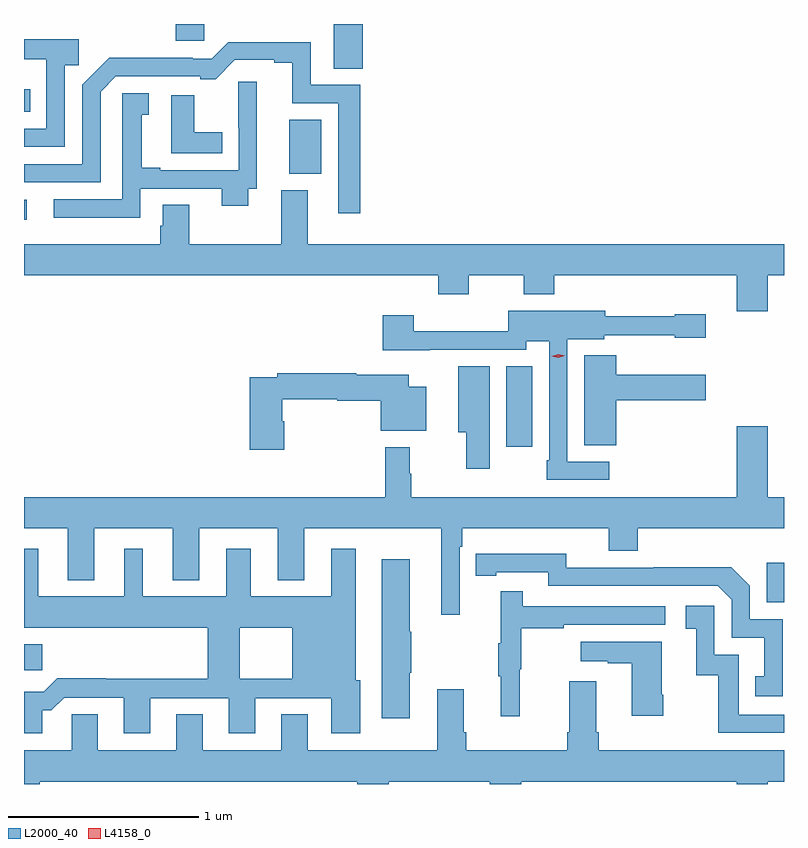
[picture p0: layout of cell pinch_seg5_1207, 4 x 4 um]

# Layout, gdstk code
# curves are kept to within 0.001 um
import gdstk
lib = gdstk.Library(unit=1e-6, precision=1e-09)
def R(c, l, rs):  # rectangles x0, y0, x1, y1
    for r in rs: c.add(gdstk.rectangle(r[:2], r[2:], *l))
def P(c, l, *ps):  # polygons
    for p in ps: c.add(gdstk.Polygon(p, *l))
L2000_40 = (2000, 40)
L4158_0 = (4158, 0)

pinch_seg5_1207 = lib.new_cell('pinch_seg5_1207')
R(pinch_seg5_1207, L2000_40, [(448.97,894.643,449.065,894.778), (452.88,894.999,452.97,895.207), (451.508,895.818,451.645,896.243), (448.97,897.014,448.984,897.118), (450.365,897.254,450.535,897.538), (448.97,897.582,449.003,897.699), (450.599,897.808,450.752,898.043), (449.768,897.954,449.919,898.043)])
P(pinch_seg5_1207, L2000_40, [(449.184,897.826),(449.258,897.826),(449.258,897.964),(448.97,897.964),(448.97,897.858),(449.088,897.858),(449.088,897.492),(448.97,897.492),(448.97,897.396),(449.184,897.396)],
  [(450.74,897.723),(450.48,897.723),(450.48,897.948),(450.045,897.948),(449.958,897.861),(449.858,897.861),(449.858,897.866),(449.418,897.866),(449.277,897.724),(449.277,897.306),(448.97,897.306),(448.97,897.21),(449.373,897.21),(449.373,897.687),(449.454,897.768),(449.897,897.768),(449.897,897.753),(449.979,897.753),(450.08,897.854),(450.287,897.854),(450.287,897.84),(450.383,897.84),(450.383,897.627),(450.624,897.627),(450.624,897.048),(450.74,897.048)],
  [(449.583,897.177),(450.011,897.177),(450.011,897.086),(450.151,897.086),(450.151,897.177),(450.196,897.177),(450.196,897.739),(450.097,897.739),(450.097,897.498),(450.099,897.498),(450.099,897.273),(449.686,897.273),(449.686,897.286),(449.59,897.286),(449.59,897.566),(449.626,897.566),(449.626,897.679),(449.488,897.679),(449.488,897.566),(449.486,897.566),(449.486,897.12),(449.127,897.12),(449.127,897.023),(449.583,897.023)],
  [(450.014,897.472),(449.866,897.472),(449.866,897.667),(449.744,897.667),(449.744,897.363),(450.014,897.363)],
  [(452.884,896.72),(452.97,896.72),(452.97,896.884),(450.463,896.884),(450.463,897.169),(450.323,897.169),(450.323,896.884),(449.839,896.884),(449.839,897.092),(449.699,897.092),(449.699,896.982),(449.687,896.982),(449.687,896.884),(448.97,896.884),(448.97,896.72),(451.151,896.72),(451.151,896.621),(451.311,896.621),(451.311,896.72),(451.6,896.72),(451.6,896.621),(451.76,896.621),(451.76,896.72),(452.72,896.72),(452.72,896.532),(452.884,896.532)],
  [(452.05,895.74),(451.83,895.74),(451.83,896.384),(452.025,896.384),(452.025,896.405),(452.394,896.405),(452.394,896.393),(452.557,896.393),(452.557,896.515),(452.394,896.515),(452.394,896.504),(452.029,896.504),(452.029,896.533),(451.518,896.533),(451.518,896.426),(451.022,896.426),(451.022,896.509),(450.857,896.509),(450.857,896.327),(451.105,896.327),(451.105,896.328),(451.614,896.328),(451.614,896.372),(451.734,896.372),(451.734,895.747),(451.722,895.747),(451.722,895.644),(452.05,895.644)],
  [(452.086,896.063),(452.557,896.063),(452.557,896.197),(452.086,896.197),(452.086,896.299),(451.919,896.299),(451.919,895.825),(452.086,895.825)],
  [(451.42,896.243),(451.256,896.243),(451.256,895.895),(451.298,895.895),(451.298,895.701),(451.42,895.701)],
  [(450.341,895.953),(450.328,895.953),(450.328,896.068),(450.618,896.068),(450.618,896.06),(450.848,896.06),(450.848,895.901),(451.087,895.901),(451.087,896.134),(450.994,896.134),(450.994,896.197),(450.718,896.197),(450.718,896.204),(450.304,896.204),(450.304,896.184),(450.158,896.184),(450.158,895.803),(450.341,895.803)],
  [(451.263,895.292),(451.277,895.292),(451.277,895.388),(452.048,895.388),(452.048,895.271),(452.201,895.271),(452.201,895.388),(452.97,895.388),(452.97,895.552),(452.884,895.552),(452.884,895.927),(452.72,895.927),(452.72,895.552),(451.007,895.552),(451.007,895.676),(451,895.676),(451,895.816),(450.871,895.816),(450.871,895.552),(448.97,895.552),(448.97,895.388),(449.201,895.388),(449.201,895.115),(449.341,895.115),(449.341,895.388),(449.753,895.388),(449.753,895.115),(449.893,895.115),(449.893,895.388),(450.305,895.388),(450.305,895.115),(450.445,895.115),(450.445,895.388),(451.166,895.388),(451.166,894.933),(451.263,894.933)],
  [(449.399,894.599),(449.144,894.599),(449.074,894.529),(448.97,894.529),(448.97,894.309),(449.065,894.309),(449.065,894.431),(449.114,894.431),(449.181,894.498),(449.495,894.498),(449.495,894.309),(449.635,894.309),(449.635,894.495),(450.047,894.495),(450.047,894.309),(450.187,894.309),(450.187,894.495),(450.587,894.495),(450.587,894.309),(450.739,894.309),(450.739,894.588),(450.715,894.588),(450.715,895.282),(450.587,895.282),(450.587,895.03),(450.163,895.03),(450.163,895.282),(450.035,895.282),(450.035,895.03),(449.596,895.03),(449.596,895.282),(449.498,895.282),(449.498,895.03),(449.044,895.03),(449.044,895.282),(448.97,895.282),(448.97,894.866),(449.936,894.866),(449.936,894.596),(450.106,894.596),(450.106,894.866),(450.383,894.866),(450.383,894.596),(449.399,894.596)],
  [(452.964,894.909),(452.79,894.909),(452.79,895.086),(452.692,895.184),(452.284,895.184),(452.284,895.182),(451.824,895.182),(451.824,895.255),(451.348,895.254),(451.348,895.138),(451.456,895.138),(451.456,895.158),(451.728,895.158),(451.728,895.086),(452.622,895.086),(452.694,895.014),(452.694,894.813),(452.867,894.813),(452.867,894.609),(452.818,894.609),(452.818,894.504),(452.964,894.504)],
  [(451,894.628),(451.008,894.628),(451.008,894.845),(451,894.845),(451,895.225),(450.854,895.225),(450.854,894.39),(451,894.39)],
  [(451.58,894.648),(451.588,894.648),(451.588,894.862),(451.811,894.862),(451.811,894.882),(452.344,894.882),(452.344,894.978),(451.595,894.978),(451.595,895.057),(451.478,895.057),(451.478,894.785),(451.467,894.785),(451.467,894.611),(451.478,894.611),(451.478,894.399),(451.58,894.399)],
  [(452.97,894.408),(452.733,894.408),(452.733,894.723),(452.604,894.723),(452.604,894.982),(452.454,894.982),(452.454,894.861),(452.507,894.861),(452.507,894.615),(452.625,894.615),(452.625,894.312),(452.97,894.312)],
  [(452.334,894.514),(452.326,894.514),(452.326,894.793),(451.899,894.793),(451.899,894.689),(452.042,894.689),(452.042,894.679),(452.168,894.679),(452.168,894.402),(452.334,894.402)],
  [(449.052,894.056),(450.725,894.056),(450.725,894.043),(450.89,894.043),(450.89,894.056),(451.421,894.056),(451.421,894.043),(451.586,894.043),(451.586,894.056),(452.72,894.056),(452.72,894.043),(452.884,894.043),(452.884,894.056),(452.97,894.056),(452.97,894.22),(451.994,894.22),(451.994,894.316),(451.981,894.316),(451.981,894.583),(451.841,894.583),(451.841,894.316),(451.829,894.316),(451.829,894.22),(451.298,894.22),(451.298,894.316),(451.285,894.316),(451.285,894.541),(451.145,894.541),(451.145,894.22),(450.463,894.22),(450.463,894.41),(450.323,894.41),(450.323,894.22),(449.911,894.22),(449.911,894.41),(449.771,894.41),(449.771,894.22),(449.359,894.22),(449.359,894.41),(449.22,894.41),(449.22,894.22),(448.97,894.22),(448.97,894.043),(449.052,894.043)])
P(pinch_seg5_1207, L4158_0, [(451.782,896.286),(451.747,896.295),(451.747,896.295),(451.747,896.295),(451.781,896.306),(451.816,896.298),(451.816,896.297),(451.816,896.297)])

lib.write_gds('pinch_seg5_1207.gds')
